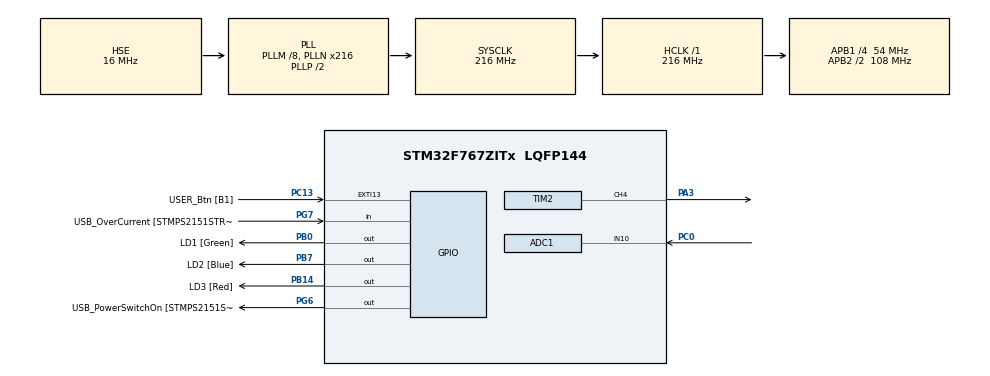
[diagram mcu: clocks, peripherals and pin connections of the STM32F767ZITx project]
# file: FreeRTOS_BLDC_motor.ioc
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ADC1.Channel-0\#ChannelRegularConversion=ADC_CHANNEL_10
ADC1.ContinuousConvMode=ENABLE
ADC1.DMAContinuousRequests=ENABLE
ADC1.NbrOfConversionFlag=1
ADC1.Rank-0\#ChannelRegularConversion=1
ADC1.SamplingTime-0\#ChannelRegularConversion=ADC_SAMPLETIME_3CYCLES
ADC1.master=1
Dma.ADC1.0.Direction=DMA_PERIPH_TO_MEMORY
Dma.ADC1.0.FIFOMode=DMA_FIFOMODE_DISABLE
Dma.ADC1.0.Instance=DMA2_Stream0
Dma.ADC1.0.MemDataAlignment=DMA_MDATAALIGN_HALFWORD
Dma.ADC1.0.MemInc=DMA_MINC_ENABLE
Dma.ADC1.0.Mode=DMA_CIRCULAR
Dma.ADC1.0.PeriphDataAlignment=DMA_PDATAALIGN_HALFWORD
Dma.ADC1.0.PeriphInc=DMA_PINC_DISABLE
Dma.ADC1.0.Priority=DMA_PRIORITY_LOW
Dma.Request0=ADC1
Mcu.Family=STM32F7
Mcu.Name=STM32F767ZITx
Mcu.Package=LQFP144
NVIC.PriorityGroup=NVIC_PRIORITYGROUP_4
PA1.GPIO_Label=RMII_REF_CLK [LAN8742A-CZ-TR_REFCLK0]
PA1.Signal=ETH_REF_CLK
PA10.GPIO_Label=USB_ID
PA10.Signal=USB_OTG_FS_ID
PA11.GPIO_Label=USB_DM
PA11.Signal=USB_OTG_FS_DM
PA12.GPIO_Label=USB_DP
PA12.Signal=USB_OTG_FS_DP
PA13.GPIO_Label=TMS
PA13.Mode=Serial_Wire
PA13.Signal=SYS_JTMS-SWDIO
PA14.GPIO_Label=TCK
PA14.Mode=Serial_Wire
PA14.Signal=SYS_JTCK-SWCLK
PA2.GPIO_Label=RMII_MDIO [LAN8742A-CZ-TR_MDIO]
PA2.Signal=ETH_MDIO
PA3.Signal=S_TIM2_CH4
PA7.GPIO_Label=RMII_CRS_DV [LAN8742A-CZ-TR_CRS_DV]
PA7.Signal=ETH_CRS_DV
PA8.GPIO_Label=USB_SOF [TP1]
PA8.Signal=USB_OTG_FS_SOF
PA9.GPIO_Label=USB_VBUS
PA9.Signal=USB_OTG_FS_VBUS
PB0.GPIO_Label=LD1 [Green]
PB0.Signal=GPIO_Output
PB13.GPIO_Label=RMII_TXD1 [LAN8742A-CZ-TR_TXD1]
PB13.Signal=ETH_TXD1
PB14.GPIO_Label=LD3 [Red]
PB14.Signal=GPIO_Output
PB3.GPIO_Label=SW0
PB3.Signal=SYS_JTDO-SWO
PB7.GPIO_Label=LD2 [Blue]
PB7.Signal=GPIO_Output
PC0.Signal=ADCx_IN10
PC1.GPIO_Label=RMII_MDC [LAN8742A-CZ-TR_MDC]
PC1.Signal=ETH_MDC
PC13.GPIO_Label=USER_Btn [B1]
PC13.Signal=GPXTI13
PC14/OSC32_IN.Signal=RCC_OSC32_IN
PC15/OSC32_OUT.Signal=RCC_OSC32_OUT
PC4.GPIO_Label=RMII_RXD0 [LAN8742A-CZ-TR_RXD0]
PC4.Signal=ETH_RXD0
PC5.GPIO_Label=RMII_RXD1 [LAN8742A-CZ-TR_RXD1]
PC5.Signal=ETH_RXD1
PD8.GPIO_Label=STLK_RX [STM32F103CBT6_PA3]
PD8.Signal=USART3_TX
PD9.GPIO_Label=STLK_TX [STM32F103CBT6_PA2]
PD9.Signal=USART3_RX
PG11.GPIO_Label=RMII_TX_EN [LAN8742A-CZ-TR_TXEN]
PG11.Signal=ETH_TX_EN
PG13.GPIO_Label=RMII_TXD0 [LAN8742A-CZ-TR_TXD0]
PG13.Signal=ETH_TXD0
PG6.GPIO_Label=USB_PowerSwitchOn [STMPS2151STR_EN]
PG6.Signal=GPIO_Output
PG7.GPIO_Label=USB_OverCurrent [STMPS2151STR_FAULT]
PG7.Signal=GPIO_Input
PH0/OSC_IN.GPIO_Label=MCO [STM32F103CBT6_PA8]
PH0/OSC_IN.Mode=HSE-External-Oscillator
PH0/OSC_IN.Signal=RCC_OSC_IN
PH1/OSC_OUT.Mode=HSE-External-Oscillator
PH1/OSC_OUT.Signal=RCC_OSC_OUT
ProjectManager.HeapSize=0x200
ProjectManager.StackSize=0x400
ProjectManager.TargetToolchain=STM32CubeIDE
RCC.48MHZClocksFreq_Value=24000000
RCC.AHBFreq_Value=216000000
RCC.APB1CLKDivider=RCC_HCLK_DIV4
RCC.APB1Freq_Value=54000000
RCC.APB1TimFreq_Value=108000000
RCC.APB2CLKDivider=RCC_HCLK_DIV2
RCC.APB2Freq_Value=108000000
RCC.APB2TimFreq_Value=216000000
RCC.CortexFreq_Value=216000000
RCC.HCLKFreq_Value=216000000
RCC.HSE_VALUE=16000000
RCC.HSI_VALUE=16000000
RCC.LSE_VALUE=32768
RCC.PLLM=8
RCC.PLLMUL=RCC_PLL_MUL9
RCC.PLLN=216
RCC.PLLSourceVirtual=RCC_PLLSOURCE_HSE
RCC.PRESCALERUSB=RCC_USBCLKSOURCE_PLL_DIV1_5
RCC.SYSCLKFreq_VALUE=216000000
RCC.SYSCLKSource=RCC_SYSCLKSOURCE_PLLCLK
RCC.SYSCLKSourceVirtual=RCC_SYSCLKSOURCE_PLLCLK
RCC.USBFreq_Value=216000000
RCC.VCOOutputFreq_Value=432000000
SH.ADCx_IN10.0=ADC1_IN10,IN10
SH.S_TIM2_CH4.0=TIM2_CH4,PWM Generation4 CH4
TIM2.Channel-PWM\ Generation4\ CH4=TIM_CHANNEL_4
TIM2.Period=1000-1
TIM2.Prescaler=540-1
board=NUCLEO-F767ZI

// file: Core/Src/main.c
/* USER CODE BEGIN Header */
/**
  ******************************************************************************
  * @file           : main.c
  * @brief          : Main program body
  ******************************************************************************
  * @attention
  *
  * Copyright (c) 2023 STMicroelectronics.
  * All rights reserved.
  *
  * This software is licensed under terms that can be found in the LICENSE file
  * in the root directory of this software component.
  * If no LICENSE file comes with this software, it is provided AS-IS.
  *
  ******************************************************************************
  */
/* USER CODE END Header */
#include "main.h"
#include "adc.h"
#include "dma.h"
#include "tim.h"
#include "gpio.h"

/* USER CODE BEGIN PTD */
//#define Calibrate 1
/* USER CODE END PTD */

void SystemClock_Config(void);

/* USER CODE BEGIN 0 */
uint16_t ADC_Data = 0;
int ADC_Converted = 0;

long map(long x, long in_min, long in_max, long out_min, long out_max)
{
	return (x - in_min) * (out_max - out_min + 1) / (in_max - in_min + 1) + out_min;
}

void HAL_ADC_ConvCpltCallback(ADC_HandleTypeDef* hadc)
{
//	ADC_Converted = map(ADC_Data, 0, 4095, 50, 100);
//	TIM2->CCR4 = ADC_Converted;

//	HAL_ADC_Start_IT(&hadc1);
//	HAL_ADC_Start_DMA(&hadc1, (uint32_t *)&ADC_Data, 1);
}
/* USER CODE END 0 */

int main(void)
{

  /* MCU Configuration--------------------------------------------------------*/

  /* Reset of all peripherals, Initializes the Flash interface and the Systick. */
  HAL_Init();

  /* Configure the system clock */
  SystemClock_Config();

  /* Initialize all configured peripherals */
  MX_GPIO_Init();
  MX_DMA_Init();
  MX_ADC1_Init();
  MX_TIM2_Init();
  /* USER CODE BEGIN 2 */
  HAL_TIM_PWM_Start(&htim2, TIM_CHANNEL_4);

#if Calibrate
  TIM2->CCR4 = 100;	// Set the maximum pulse (2ms)
  HAL_Delay(2000);	// Wait for 1 beep
  TIM2->CCR4 = 50;	// Set the minimum pulse (1ms)
  HAL_Delay(1000); 	// Wait for 2 beeps
  TIM2->CCR4 = 0; 	// Reset to 0, so it can be controlled via ADC
#endif

  HAL_ADC_Start_DMA(&hadc1, (uint32_t *)&ADC_Data, 1);
  /* USER CODE END 2 */

  /* Infinite loop */
  /* USER CODE BEGIN WHILE */
  while (1)
  {
	  ADC_Converted = map(ADC_Data, 0, 4095, 50, 100);
	  TIM2->CCR4 = ADC_Converted;
//	  TIM2->CCR4 = 55;
//	  HAL_Delay(1000);
//	  TIM2->CCR4 = 60;
//	  HAL_Delay(1000);
//	  TIM2->CCR4 = 65;
//	  HAL_Delay(1000);
//	  TIM2->CCR4 = 70;
//	  HAL_Delay(1000);
//	  TIM2->CCR4 = 65;
//	  HAL_Delay(1000);
//	  TIM2->CCR4 = 60;
//	  HAL_Delay(1000);
    /* USER CODE END WHILE */

  }
}

void SystemClock_Config(void)
{
  RCC_OscInitTypeDef RCC_OscInitStruct = {0};
  RCC_ClkInitTypeDef RCC_ClkInitStruct = {0};

  /** Configure the main internal regulator output voltage
  */
  __HAL_RCC_PWR_CLK_ENABLE();
  __HAL_PWR_VOLTAGESCALING_CONFIG(PWR_REGULATOR_VOLTAGE_SCALE1);

  /** Initializes the RCC Oscillators according to the specified parameters
  * in the RCC_OscInitTypeDef structure.
  */
  RCC_OscInitStruct.OscillatorType = RCC_OSCILLATORTYPE_HSE;
  RCC_OscInitStruct.HSEState = RCC_HSE_ON;
  RCC_OscInitStruct.PLL.PLLState = RCC_PLL_ON;
  RCC_OscInitStruct.PLL.PLLSource = RCC_PLLSOURCE_HSE;
  RCC_OscInitStruct.PLL.PLLM = 8;
  RCC_OscInitStruct.PLL.PLLN = 216;
  RCC_OscInitStruct.PLL.PLLP = RCC_PLLP_DIV2;
  RCC_OscInitStruct.PLL.PLLQ = 2;
  RCC_OscInitStruct.PLL.PLLR = 2;
  if (HAL_RCC_OscConfig(&RCC_OscInitStruct) != HAL_OK)
  {
    Error_Handler();
  }

  /** Activate the Over-Drive mode
  */
  if (HAL_PWREx_EnableOverDrive() != HAL_OK)
  {
    Error_Handler();
  }

  /** Initializes the CPU, AHB and APB buses clocks
  */
  RCC_ClkInitStruct.ClockType = RCC_CLOCKTYPE_HCLK|RCC_CLOCKTYPE_SYSCLK
                              |RCC_CLOCKTYPE_PCLK1|RCC_CLOCKTYPE_PCLK2;
  RCC_ClkInitStruct.SYSCLKSource = RCC_SYSCLKSOURCE_PLLCLK;
  RCC_ClkInitStruct.AHBCLKDivider = RCC_SYSCLK_DIV1;
  RCC_ClkInitStruct.APB1CLKDivider = RCC_HCLK_DIV4;
  RCC_ClkInitStruct.APB2CLKDivider = RCC_HCLK_DIV2;

  if (HAL_RCC_ClockConfig(&RCC_ClkInitStruct, FLASH_LATENCY_7) != HAL_OK)
  {
    Error_Handler();
  }
}

void Error_Handler(void)
{
  __disable_irq();
  while (1)
  {
  }
}
